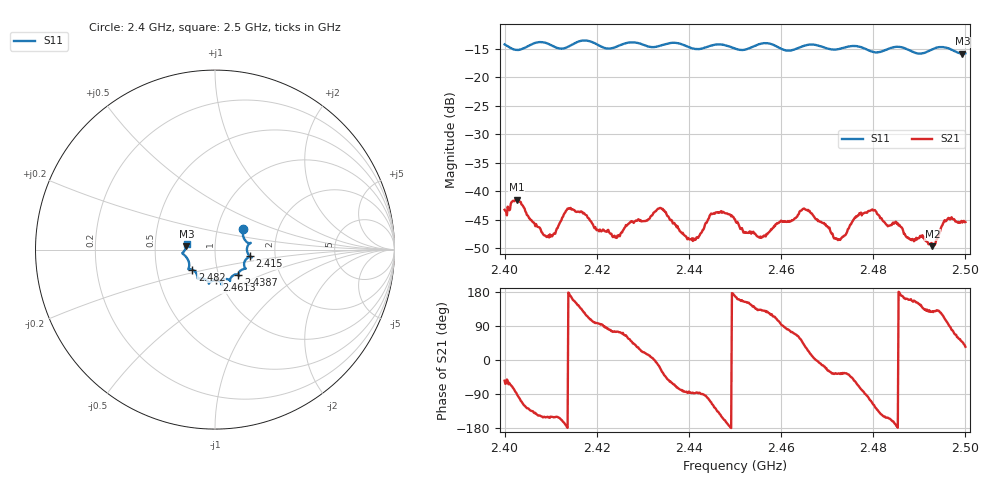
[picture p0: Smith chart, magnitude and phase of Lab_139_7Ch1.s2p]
# Hz S RI R 50
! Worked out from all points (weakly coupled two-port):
!   601 points, 2.4 GHz to 2.5 GHz, reference 50 ohm
!   highest |S21| = -41.47 dB at 2.4027 GHz (marker M1); lowest = -49.7 dB at 2.4928 GHz (marker M2)
!   lowest |S11| = -15.9 dB at 2.4993 GHz (marker M3), VSWR 1.38, Z = 36.2 + j1.54 ohm
!   |S11| at or under -10 dB: start of sweep to end of sweep
!   S12 and S22 are empty: the file has one direction only
!   S11 on the Smith chart (normalised r, x): 2.4 GHz: 1.33, +0.31; 2.415 GHz: 1.47, -0.11; 2.4387 GHz: 1.24, -0.36; 2.4613 GHz: 0.96, -0.34; 2.482 GHz: 0.76, -0.17; 2.5 GHz: 0.73, +0.05
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2.4e9  0.1577 0.1125  0.00397 -0.00559  0 0  0 0
2.402667e9  0.1591 0.0676  1.14e-05 -0.00844  0 0  0 0
2.409167e9  0.195 0.0363  -0.00344 -0.00194  0 0  0 0
2.415e9  0.1925 -0.0361  -0.00628 0.00271  0 0  0 0
2.416667e9  0.2039 -0.0439  -0.00469 0.00467  0 0  0 0
2.423833e9  0.1619 -0.0832  0.00101 0.00394  0 0  0 0
2.433333e9  0.1319 -0.1317  0.00684 -0.00162  0 0  0 0
2.438667e9  0.1308 -0.1414  0.00055 -0.00428  0 0  0 0
2.441667e9  0.1025 -0.1433  0.000295 -0.00392  0 0  0 0
2.445667e9  0.083 -0.1737  -0.00375 -0.00513  0 0  0 0
2.45e9  0.0683 -0.1644  -0.00556 0.0011  0 0  0 0
2.4555e9  0.0352 -0.1927  -0.00271 0.00294  0 0  0 0
2.461333e9  0.00803 -0.1705  0.000867 0.00531  0 0  0 0
2.466667e9  -0.0341 -0.1901  0.00625 0.00123  0 0  0 0
2.472333e9  -0.0702 -0.1609  0.00301 -0.00218  0 0  0 0
2.476833e9  -0.0967 -0.1585  0.00223 -0.00572  0 0  0 0
2.482e9  -0.1261 -0.1116  -0.00461 -0.00309  0 0  0 0
2.483333e9  -0.14 -0.1089  -0.00447 -0.00219  0 0  0 0
2.492833e9  -0.1734 -0.0278  -0.00205 0.00257  0 0  0 0
2.495833e9  -0.1804 -0.0176  -0.0013 0.00532  0 0  0 0
2.499333e9  -0.1593 0.0207  0.0036 0.00389  0 0  0 0
2.5e9  -0.1584 0.0329  0.0044 0.00306  0 0  0 0
